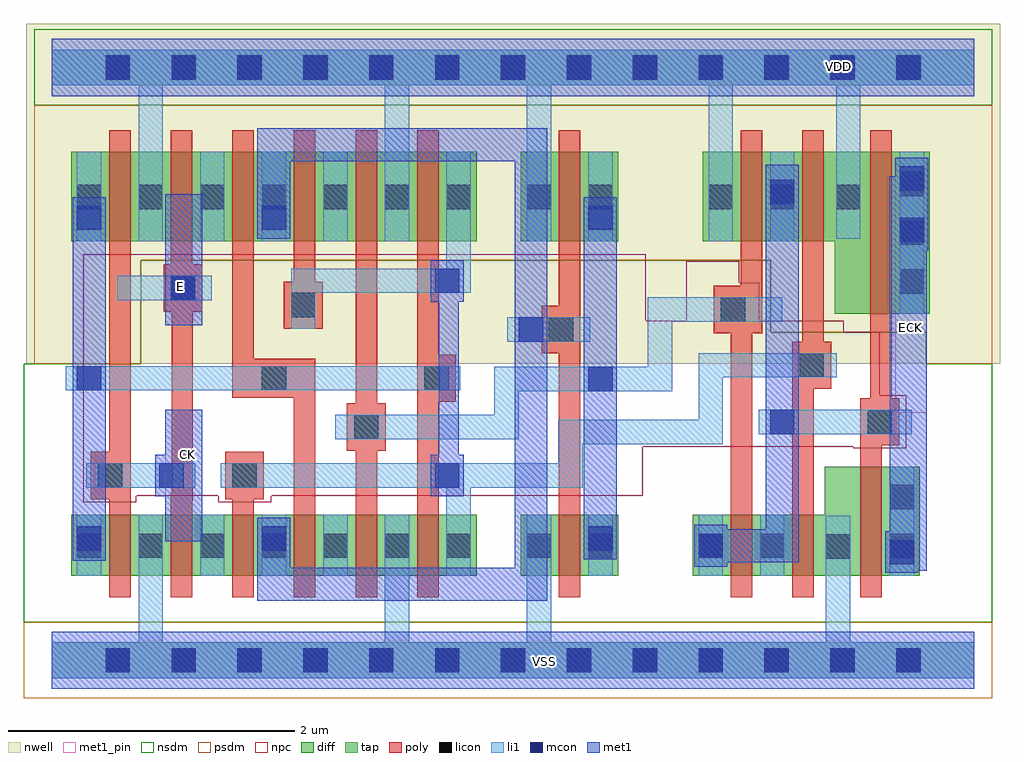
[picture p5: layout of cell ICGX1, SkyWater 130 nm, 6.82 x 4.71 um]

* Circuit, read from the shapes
.subckt ICGX1 CK E ECK VDD VSS
XM1 VSS CK n1 VSS sky130_fd_pr__nfet_01v8 w=0.425 l=0.15
XM2 n2 E VSS VSS sky130_fd_pr__nfet_01v8 w=0.425 l=0.15
XM3 n3 n4 n2 VSS sky130_fd_pr__nfet_01v8 w=0.425 l=0.15
XM4 n5 n1 n3 VSS sky130_fd_pr__nfet_01v8 w=0.425 l=0.15
XM5 VSS n6 n5 VSS sky130_fd_pr__nfet_01v8 w=0.425 l=0.15
XM6 n4 n1 VSS VSS sky130_fd_pr__nfet_01v8 w=0.425 l=0.15
XM7 n6 n3 VSS VSS sky130_fd_pr__nfet_01v8 w=0.425 l=0.15
XM8 n7 n6 n8 VSS sky130_fd_pr__nfet_01v8 w=0.425 l=0.15
XM9 VSS n4 n7 VSS sky130_fd_pr__nfet_01v8 w=0.425 l=0.15
XM10 ECK n8 VSS VSS sky130_fd_pr__nfet_01v8 w=0.76 l=0.15
XM11 VDD CK n1 VDD sky130_fd_pr__pfet_01v8 w=0.625 l=0.15
XM12 n9 E VDD VDD sky130_fd_pr__pfet_01v8 w=0.625 l=0.15
XM13 n3 n1 n9 VDD sky130_fd_pr__pfet_01v8 w=0.625 l=0.15
XM14 n10 n4 n3 VDD sky130_fd_pr__pfet_01v8 w=0.625 l=0.15
XM15 VDD n6 n10 VDD sky130_fd_pr__pfet_01v8 w=0.625 l=0.15
XM16 n4 n1 VDD VDD sky130_fd_pr__pfet_01v8 w=0.625 l=0.15
XM17 n6 n3 VDD VDD sky130_fd_pr__pfet_01v8 w=0.625 l=0.15
XM18 n8 n6 VDD VDD sky130_fd_pr__pfet_01v8 w=0.625 l=0.15
XM19 VDD n4 n8 VDD sky130_fd_pr__pfet_01v8 w=0.625 l=0.15
XM20 ECK n8 VDD VDD sky130_fd_pr__pfet_01v8 w=1.13 l=0.15
.ends

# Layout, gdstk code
import gdstk
lib = gdstk.Library(unit=1e-6, precision=1e-09)
def R(c, l, rs):  # rectangles x0, y0, x1, y1
    for r in rs: c.add(gdstk.rectangle(r[:2], r[2:], *l))
def A(c, l, x, y, w, h, nx, ny, dx, dy):  # array of equal rectangles
    R(c, l, [(x+i*dx, y+j*dy, x+i*dx+w, y+j*dy+h) for i in range(nx) for j in range(ny)])
def P(c, l, *ps):  # polygons
    for p in ps: c.add(gdstk.Polygon(p, *l))
nwell = (64, 20)
diff = (65, 20)
tap = (65, 44)
poly = (66, 20)
licon = (66, 44)
li1 = (67, 20)
mcon = (67, 44)
met1_pin = (68, 16)
met1 = (68, 20)
nsdm = (93, 44)
psdm = (94, 20)
npc = (95, 20)

icgx1 = lib.new_cell('ICGX1')
R(icgx1, nwell, [(-0.18,2.07,6.62,4.445)])
R(icgx1, diff, [(0.135,0.59,2.965,1.015), (3.275,0.59,3.955,1.015), (5.365,0.65,5.615,0.94), (4.475,0.655,4.725,0.945), (0.135,2.925,2.965,3.55), (3.275,2.925,3.955,3.55), (5.435,3.09,5.685,3.38)])
P(icgx1, diff, [(6.06,1.35),(5.395,1.35),(5.395,1.015),(4.475,1.015),(4.475,0.59),(6.06,0.59)],
  [(6.13,3.55),(4.545,3.55),(4.545,2.925),(5.465,2.925),(5.465,2.42),(6.13,2.42)])
R(icgx1, poly, [(0.4,0.44,0.55,3.7), (1.26,0.44,1.41,1.165), (2.12,0.44,2.27,3.7), (2.55,0.44,2.7,3.7), (3.54,0.44,3.69,3.7), (0.27,1.125,0.54,1.455), (1.21,1.125,1.48,1.455), (2.06,1.465,2.33,1.795), (5.645,1.5,5.915,1.83), (2.55,1.805,2.82,2.135), (1.26,1.835,1.84,2.105), (5.17,1.895,5.44,2.225), (3.42,2.145,3.69,2.475), (4.62,2.285,4.89,2.615), (1.62,2.315,1.89,2.645), (0.78,2.435,1.05,2.765), (1.69,2.51,1.84,3.7)])
P(icgx1, poly, [(0.985,2.78),(0.98,2.78),(0.98,3.7),(0.83,3.7),(0.83,2.725),(0.835,2.725),(0.835,1.165),(0.83,1.165),(0.83,0.44),(0.98,0.44),(0.98,1.11),(0.985,1.11)],
  [(1.84,2.045),(1.41,2.045),(1.41,3.7),(1.26,3.7),(1.26,1.895),(1.69,1.895),(1.69,0.44),(1.84,0.44)],
  [(4.96,3.7),(4.81,3.7),(4.81,2.615),(4.74,2.615),(4.74,0.44),(4.89,0.44),(4.89,2.285),(4.96,2.285)],
  [(5.39,3.7),(5.24,3.7),(5.24,2.18),(5.17,2.18),(5.17,0.44),(5.32,0.44),(5.32,2.025),(5.35,2.025),(5.39,2.065)],
  [(5.865,3.7),(5.715,3.7),(5.715,1.5),(5.645,1.5),(5.645,0.44),(5.795,0.44),(5.795,1.5),(5.865,1.5)])
A(icgx1, licon, 0.375, -0.085, 0.17, 0.17, 13, 2, 0.46, 4.14)
A(icgx1, licon, 0.175, 0.715, 0.17, 0.17, 7, 2, 0.43, 2.435)
A(icgx1, licon, 5.92, 2.56, 0.17, 0.17, 1, 3, 0, 0.34)
R(icgx1, licon, [(5.405,0.71,5.575,0.88), (5.405,0.71,5.575,0.88), (3.315,0.715,3.485,0.885), (3.745,0.715,3.915,0.885), (4.515,0.715,4.685,0.885), (4.515,0.715,4.685,0.885), (4.515,0.715,4.685,0.885), (4.945,0.715,5.115,0.885), (5.85,0.715,6.02,0.885), (5.85,1.055,6.02,1.225), (0.32,1.205,0.49,1.375), (1.26,1.205,1.43,1.375), (2.11,1.545,2.28,1.715), (5.695,1.58,5.865,1.75), (5.695,1.58,5.865,1.75), (5.695,1.58,5.865,1.75), (1.465,1.885,1.635,2.055), (2.6,1.885,2.77,2.055), (5.22,1.975,5.39,2.145), (3.47,2.225,3.64,2.395), (4.67,2.365,4.84,2.535), (1.67,2.395,1.84,2.565), (0.83,2.515,1,2.685), (3.315,3.15,3.485,3.32), (3.745,3.15,3.915,3.32), (4.585,3.15,4.755,3.32), (5.015,3.15,5.185,3.32), (5.475,3.15,5.645,3.32), (5.475,3.15,5.645,3.32)])
A(icgx1, li1, 1.035, 0.59, 0.17, 0.425, 3, 1, 0.43, 0)
A(icgx1, li1, 1.035, 2.925, 0.17, 0.625, 3, 1, 0.43, 0)
R(icgx1, li1, [(0.175,0.59,0.345,1.015), (3.745,0.59,3.915,1.015), (4.515,0.59,4.685,1.015), (4.945,0.59,5.115,1.015), (5.85,0.59,6.02,0.92), (5.85,0.59,6.02,1.35), (4.515,0.635,4.685,0.965), (0.175,0.685,0.345,1.015), (1.465,0.685,1.635,1.015), (3.745,0.685,3.915,1.015), (0.67,1.205,1,1.375), (2.595,1.205,2.925,1.375), (4.935,1.58,5.265,1.75), (5.615,1.58,5.945,1.75), (3.665,1.88,3.995,2.05), (0.095,1.885,0.425,2.055), (3.18,2.225,3.51,2.395), (5.92,2.42,6.09,3.55), (0.75,2.515,1.08,2.685), (2.595,2.565,2.925,2.735), (5.92,2.84,6.09,3.53), (0.175,2.925,0.345,3.255), (0.175,2.925,0.345,3.55), (1.465,2.925,1.635,3.255), (3.745,2.925,3.915,3.255), (3.745,2.925,3.915,3.55), (5.015,2.925,5.185,3.55), (5.015,3.105,5.185,3.435)])
P(icgx1, li1, [(5.48,2.145),(4.515,2.145),(4.515,1.68),(3.535,1.68),(3.535,1.375),(2.88,1.375),(2.88,1.29),(2.825,1.29),(2.825,1.375),(1.18,1.375),(1.18,1.205),(2.755,1.205),(2.755,0.59),(2.925,0.59),(2.925,1.205),(3.705,1.205),(3.705,1.51),(4.685,1.51),(4.685,1.975),(5.48,1.975)],
  [(6.44,4.265),(0,4.265),(0,4.015),(0.605,4.015),(0.605,2.925),(0.775,2.925),(0.775,4.015),(2.325,4.015),(2.325,2.925),(2.495,2.925),(2.495,4.015),(3.315,4.015),(3.315,2.925),(3.485,2.925),(3.485,4.015),(4.585,4.015),(4.585,2.925),(4.755,2.925),(4.755,4.015),(5.475,4.015),(5.475,2.945),(5.645,2.945),(5.645,4.015),(6.44,4.015)],
  [(6.44,0.125),(5.575,0.125),(5.575,1.01),(5.405,1.01),(5.405,0.125),(3.485,0.125),(3.485,1.015),(3.315,1.015),(3.315,0.125),(2.495,0.125),(2.495,1.015),(2.325,1.015),(2.325,0.125),(0.775,0.125),(0.775,1.015),(0.605,1.015),(0.605,0.125),(0,0.125),(0,-0.125),(6.44,-0.125)],
  [(2.925,3.55),(2.755,3.55),(2.755,2.735),(1.67,2.735),(1.67,2.315),(1.84,2.315),(1.84,2.565),(2.79,2.565),(2.79,2.65),(2.925,2.65)])
A(icgx1, mcon, 0.375, -0.085, 0.17, 0.17, 13, 2, 0.46, 4.14)
A(icgx1, mcon, 0.175, 0.765, 0.17, 0.17, 1, 3, 0, 1.12)
R(icgx1, mcon, [(5.85,0.67,6.02,0.84), (4.515,0.715,4.685,0.885), (1.465,0.765,1.635,0.935), (3.745,0.765,3.915,0.935), (0.75,1.205,0.92,1.375), (2.675,1.205,2.845,1.375), (5.015,1.58,5.185,1.75), (3.745,1.88,3.915,2.05), (3.26,2.225,3.43,2.395), (0.83,2.515,1,2.685), (2.675,2.565,2.845,2.735), (5.92,2.92,6.09,3.09), (1.465,3.005,1.635,3.175), (3.745,3.005,3.915,3.175), (5.015,3.185,5.185,3.355), (5.92,3.28,6.09,3.45)])
R(icgx1, met1_pin, [(0,-0.2,6.44,0.2), (0.79,0.83,1.05,1.75), (5.89,1.73,6.11,3.51), (0.79,2.34,1.05,3.255), (0,3.94,6.44,4.34)])
A(icgx1, met1, 0.145, 0.705, 0.23, 0.29, 1, 3, 0, 1.12)
R(icgx1, met1, [(5.82,0.61,6.05,0.9), (4.485,0.655,4.715,0.945), (1.435,0.705,1.665,0.995), (3.715,0.705,3.945,0.995), (0.79,0.83,1.05,1.75), (0.72,1.145,0.95,1.435), (2.645,1.145,2.875,1.435), (4.985,1.52,5.215,1.81), (3.715,1.82,3.945,2.11), (3.23,2.165,3.46,2.455), (0.79,2.34,1.05,3.255), (0.8,2.455,1.03,2.745), (2.645,2.505,2.875,2.795), (5.89,2.86,6.12,3.51), (1.435,2.945,1.665,3.235), (3.715,2.945,3.945,3.235), (4.985,3.125,5.215,3.415)])
P(icgx1, met1, [(6.11,3.38),(5.85,3.38),(5.85,0.885),(5.835,0.885),(5.835,0.625),(6.11,0.625)])
R(icgx1, nsdm, [(-0.125,3.875,6.565,4.405)])
P(icgx1, nsdm, [(6.565,2.07),(6.105,2.07),(6.105,2.29),(5.02,2.29),(5.02,2.795),(0.62,2.795),(0.62,2.07),(-0.195,2.07),(-0.195,0.265),(6.565,0.265)])
R(icgx1, psdm, [(-0.195,-0.265,6.565,0.265)])
P(icgx1, psdm, [(6.565,3.875),(-0.125,3.875),(-0.125,2.07),(0.62,2.07),(0.62,2.795),(5.02,2.795),(5.02,2.29),(6.105,2.29),(6.105,2.07),(6.565,2.07)])
R(icgx1, npc, [(0.22,1.105,0.59,1.475), (1.16,1.105,1.53,1.475), (2.01,1.445,2.38,1.815), (5.595,1.48,5.965,1.85), (1.365,1.785,1.735,2.155), (2.5,1.785,2.87,2.155), (5.12,1.875,5.49,2.245), (3.37,2.125,3.74,2.495), (4.57,2.265,4.94,2.635), (1.57,2.295,1.94,2.665), (0.73,2.415,1.1,2.785)])
P(icgx1, npc, [(5.78,2.295),(5.53,2.295),(5.53,2.37),(4.8,2.37),(4.8,2.785),(4.43,2.785),(4.43,2.37),(4.145,2.37),(4.145,2.835),(0.22,2.835),(0.22,1.15),(4.125,1.15),(4.125,1.49),(5.78,1.49)])
icgx1.add(gdstk.FlexPath([(3.345,2.31),(3.76,2.31)], 0.17, ends="flush", simple_path=True, layer=67, datatype=20))  # li1
icgx1.add(gdstk.FlexPath([(0.19,1.97),(2.85,1.97)], 0.17, ends="flush", simple_path=True, layer=67, datatype=20))  # li1
icgx1.add(gdstk.FlexPath([(5.1,2.45),(4.245,2.45),(4.245,1.965),(3.175,1.965),(3.175,1.63),(1.98,1.63)], 0.17, ends="flush", simple_path=True, layer=67, datatype=20))  # li1
icgx1.add(gdstk.FlexPath([(6.005,1.665),(5.135,1.665)], 0.17, ends="flush", simple_path=True, layer=67, datatype=20))  # li1
icgx1.add(gdstk.FlexPath([(0.24,1.29),(0.785,1.29)], 0.17, ends="flush", simple_path=True, layer=67, datatype=20))  # li1
icgx1.add(gdstk.FlexPath([(0.455,2.6),(1.115,2.6)], 0.17, ends="flush", simple_path=True, layer=67, datatype=20))  # li1
icgx1.add(gdstk.FlexPath([(0,4.14),(6.44,4.14)], 0.25, ends="flush", simple_path=True, layer=65, datatype=44))  # tap
icgx1.add(gdstk.FlexPath([(0,0),(6.44,0)], 0.25, ends="flush", simple_path=True, layer=65, datatype=44))  # tap
icgx1.add(gdstk.FlexPath([(0,0),(6.44,0)], 0.4, ends="flush", simple_path=True, layer=68, datatype=20))  # met1
icgx1.add(gdstk.FlexPath([(4.635,0.8),(5.1,0.8),(5.1,3.345)], 0.23, ends=(0, 0.115), simple_path=True, layer=68, datatype=20))  # met1
icgx1.add(gdstk.FlexPath([(0,4.14),(6.44,4.14)], 0.4, ends="flush", simple_path=True, layer=68, datatype=20))  # met1
icgx1.add(gdstk.FlexPath([(0.26,0.695),(0.26,3.225)], 0.23, ends="flush", simple_path=True, layer=68, datatype=20))  # met1
icgx1.add(gdstk.FlexPath([(3.83,0.705),(3.83,3.235)], 0.23, ends="flush", simple_path=True, layer=68, datatype=20))  # met1
icgx1.add(gdstk.FlexPath([(2.77,2.72),(2.77,1.225)], 0.14, ends="flush", simple_path=True, layer=68, datatype=20))  # met1
icgx1.add(gdstk.FlexPath([(1.55,3.09),(1.55,3.6),(3.345,3.6),(3.345,0.53),(1.55,0.53),(1.55,0.85)], 0.23, ends="flush", simple_path=True, layer=68, datatype=20))  # met1
icgx1.add(gdstk.Label('ECK', (5.995,2.325), layer=68, texttype=5))
icgx1.add(gdstk.Label('CK', (0.945,1.435), layer=68, texttype=5))
icgx1.add(gdstk.Label('VSS', (3.44,-0.005), layer=68, texttype=5))
icgx1.add(gdstk.Label('E', (0.895,2.61), layer=68, texttype=5))
icgx1.add(gdstk.Label('VDD', (5.49,4.145), layer=68, texttype=5))

lib.write_gds('ICGX1.gds')
